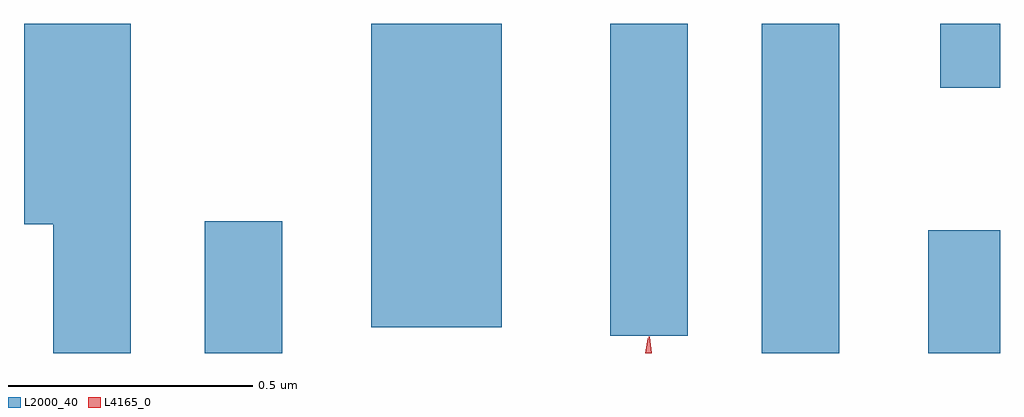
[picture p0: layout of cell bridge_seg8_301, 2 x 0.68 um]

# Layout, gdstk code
import gdstk
lib = gdstk.Library(unit=1e-6, precision=1e-09)
def R(c, l, rs):  # rectangles x0, y0, x1, y1
    for r in rs: c.add(gdstk.rectangle(r[:2], r[2:], *l))
def P(c, l, *ps):  # polygons
    for p in ps: c.add(gdstk.Polygon(p, *l))
L2000_40 = (2000, 40)
L4165_0 = (4165, 0)

bridge_seg8_301 = lib.new_cell('bridge_seg8_301')
R(bridge_seg8_301, L2000_40, [(1377.466,1806.342,1377.624,1806.613), (1378.606,1806.342,1378.764,1807.017), (1378.946,1806.342,1379.093,1806.594), (1378.296,1806.378,1378.454,1807.017), (1377.806,1806.396,1378.074,1807.017), (1378.971,1806.886,1379.093,1807.017)])
P(bridge_seg8_301, L2000_40, [(1377.314,1807.017),(1377.096,1807.017),(1377.096,1806.606),(1377.156,1806.606),(1377.156,1806.342),(1377.314,1806.342)])
P(bridge_seg8_301, L4165_0, [(1378.37,1806.342),(1378.374,1806.376),(1378.376,1806.376),(1378.38,1806.342)],
  [(1378.367,1806.342),(1378.372,1806.372),(1378.372,1806.373),(1378.373,1806.372),(1378.377,1806.342)])

lib.write_gds('bridge_seg8_301.gds')
